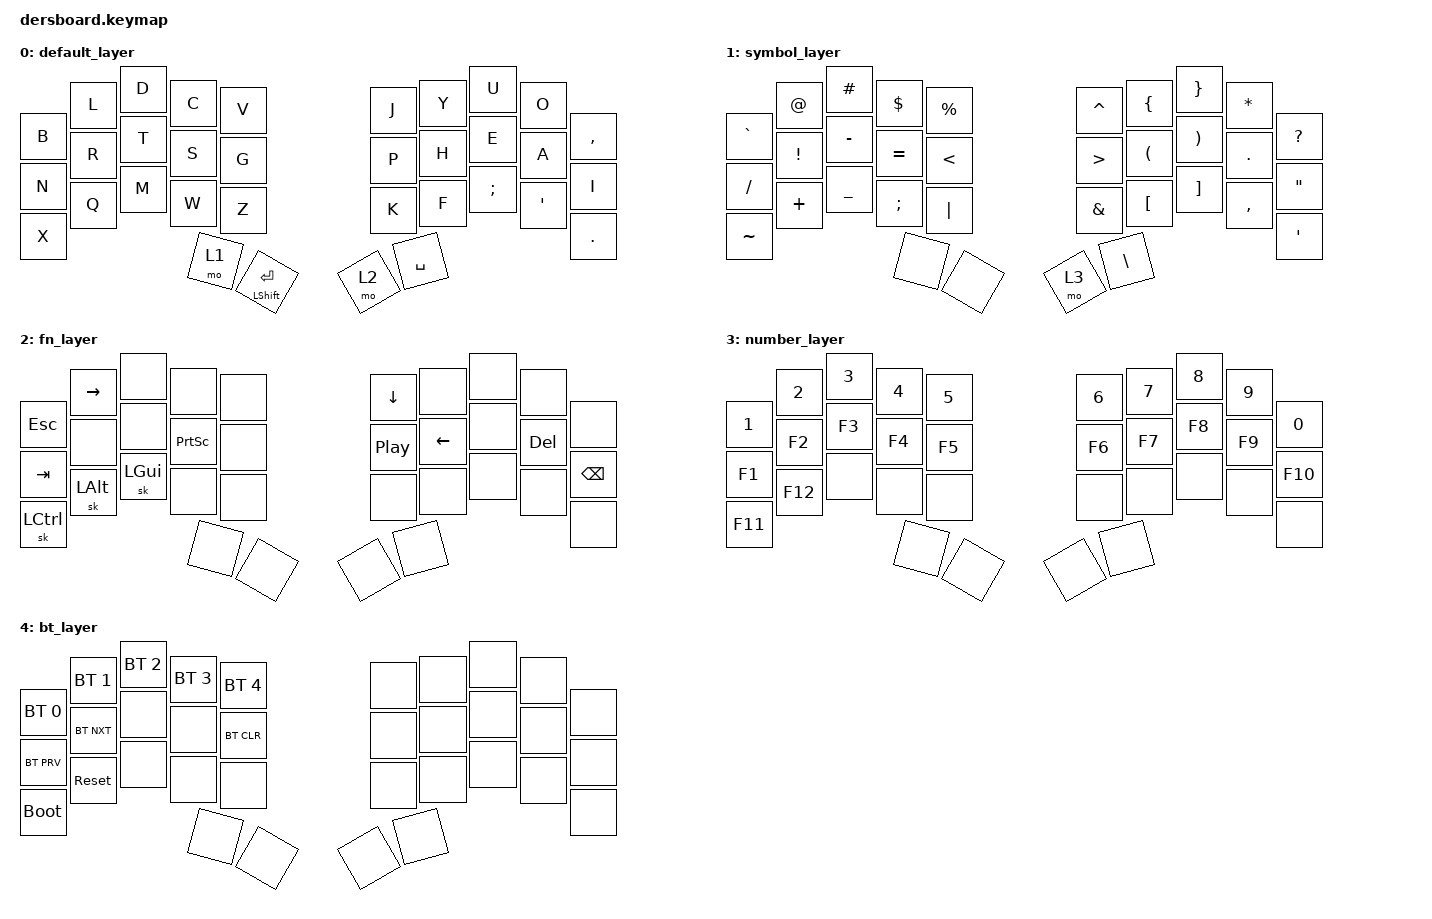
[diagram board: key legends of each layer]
#include <behaviors.dtsi>
#include <dt-bindings/zmk/keys.h>
#include <dt-bindings/zmk/bt.h>

/ {
	combos {
		compatible = "zmk,combos";

		zmk_studio_combo {
			timeout-ms = <50>;
			key-positions = <0 1>;
			bindings = <&studio_unlock>;
		};

		bt_layer_combo {
			timeout-ms = <50>;
			key-positions = <0 2>;
			bindings = <&tog 7>;
		};
	};

	keymap {
		compatible = "zmk,keymap";

		default_layer {
			bindings = <
		&kp B &kp L &kp D &kp C &kp V            &kp J &kp Y &kp U    &kp O   &kp COMMA
		&kp N &kp R &kp T &kp S &kp G            &kp P &kp H &kp E    &kp A   &kp I
		&kp X &kp Q &kp M &kp W &kp Z            &kp K &kp F &kp SEMI &kp SQT &kp DOT
				  &mo 1 &mt LSHIFT ENTER &mo 2 &kp SPACE
			>;
		};

		symbol_layer {
			bindings = <
&kp GRAVE &kp AT   &kp HASH  &kp DOLLAR &kp PRCNT &kp CARET &kp LBRC &kp RBRC &kp STAR  &kp QMARK
&kp SLASH &kp EXCL &kp MINUS &kp EQUAL  &kp LT    &kp GT    &kp LPAR &kp RPAR &kp DOT   &kp DQT
&kp TILDE &kp PLUS &kp UNDER &kp SEMI   &kp PIPE  &kp AMPS  &kp LBKT &kp RBKT &kp COMMA &kp SQT
	                     &none      &none     &mo 3     &kp BSLH
			>;
		};

		fn_layer {
			bindings = <
&kp ESC   &kp RIGHT &none    &none     &none &kp DOWN &none    &none &none   &none
&kp TAB   &none     &none    &kp PSCRN &none &kp C_PP &kp LEFT &none &kp DEL &kp BSPC
&sk LCTRL &sk LALT  &sk LGUI &none     &none &none    &none    &none &none   &none
                             &none     &none &none    &none
			>;
		};

		number_layer {
			bindings = <
&kp N1 &kp N2 &kp N3 &kp N4 &kp N5 &kp N6 &kp N7 &kp N8 &kp N9 &kp N0
&kp F1 &kp F2 &kp F3 &kp F4 &kp F5 &kp F6 &kp F7 &kp F8 &kp F9 &kp F10
&kp F11 &kp F12 &none &none &none &none &none &none &none &none
&none &none &none &none
			>;
		};

		layer4 {
			status = "reserved";
		};

		layer5 {
			status = "reserved";
		};

		layer6 {
			status = "reserved";
		};

		bt_layer {
			bindings = <
&bt BT_SEL 0 &bt BT_SEL 1 &bt BT_SEL 2 &bt BT_SEL 3 &bt BT_SEL 4 &none &none &none &none &none
&bt BT_PRV &bt BT_NXT &none &none &bt BT_CLR &none &none &none &none &none
&bootloader &sys_reset &none &none &none &none &none &none &none &none
&none &none &none &none
			>;
		};
	};
};
